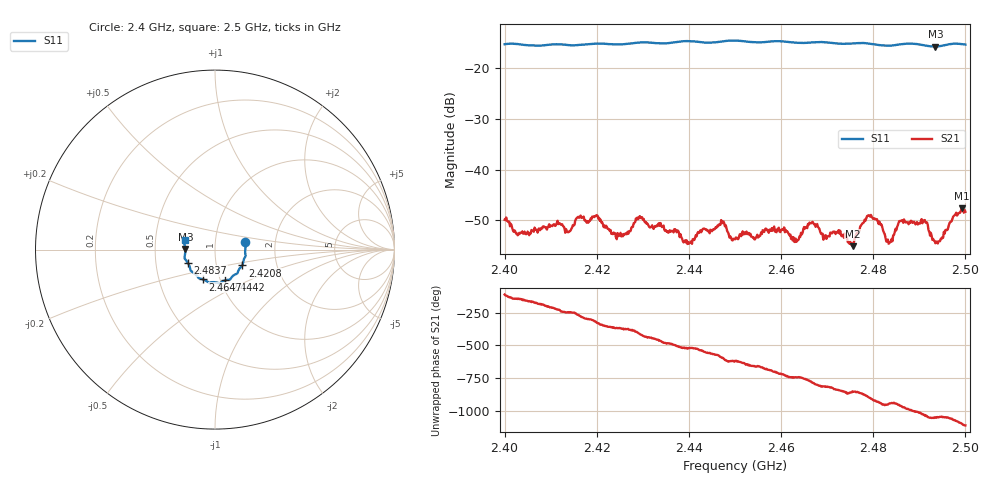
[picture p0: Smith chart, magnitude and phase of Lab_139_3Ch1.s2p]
# Hz S RI R 50
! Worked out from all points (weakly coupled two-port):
!   601 points, 2.4 GHz to 2.5 GHz, reference 50 ohm
!   highest |S21| = -47.65 dB at 2.4992 GHz (marker M1); lowest = -55.2 dB at 2.4755 GHz (marker M2)
!   lowest |S11| = -15.7 dB at 2.4935 GHz (marker M3), VSWR 1.39, Z = 35.9 + j0.189 ohm
!   |S11| at or under -10 dB: start of sweep to end of sweep
!   S12 and S22 are empty: the file has one direction only
!   S11 on the Smith chart (normalised r, x): 2.4 GHz: 1.40, +0.12; 2.4208 GHz: 1.33, -0.24; 2.4442 GHz: 1.05, -0.37; 2.4647 GHz: 0.83, -0.28; 2.4837 GHz: 0.73, -0.11; 2.5 GHz: 0.71, +0.08
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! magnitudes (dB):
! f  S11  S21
! 2.4 GHz  -15.2  -50.0
! 2.4052 GHz  -15.4  -52.7
! 2.4167 GHz  -15.3  -49.6
! 2.4208 GHz  -15.1  -49.9
! 2.4245 GHz  -15.2  -52.6
! 2.4293 GHz  -14.9  -49.2
! 2.4333 GHz  -15.0  -50.8
! 2.4402 GHz  -14.6  -54.5
! 2.4442 GHz  -14.9  -52.2
! 2.4475 GHz  -14.6  -50.3
! 2.45 GHz  -14.5  -53.8
! 2.4647 GHz  -14.9  -52.6
! 2.4667 GHz  -14.8  -50.5
! 2.4755 GHz  -15.1  -55.2
! 2.4792 GHz  -15.1  -49.2
! 2.4833 GHz  -15.5  -54.7
! 2.4837 GHz  -15.5  -54.3
! 2.4863 GHz  -15.2  -50.0
! 2.4913 GHz  -15.5  -50.4
! 2.4935 GHz  -15.7  -54.6
! 2.4992 GHz  -15.2  -47.7
! 2.5 GHz  -15.3  -48.3
